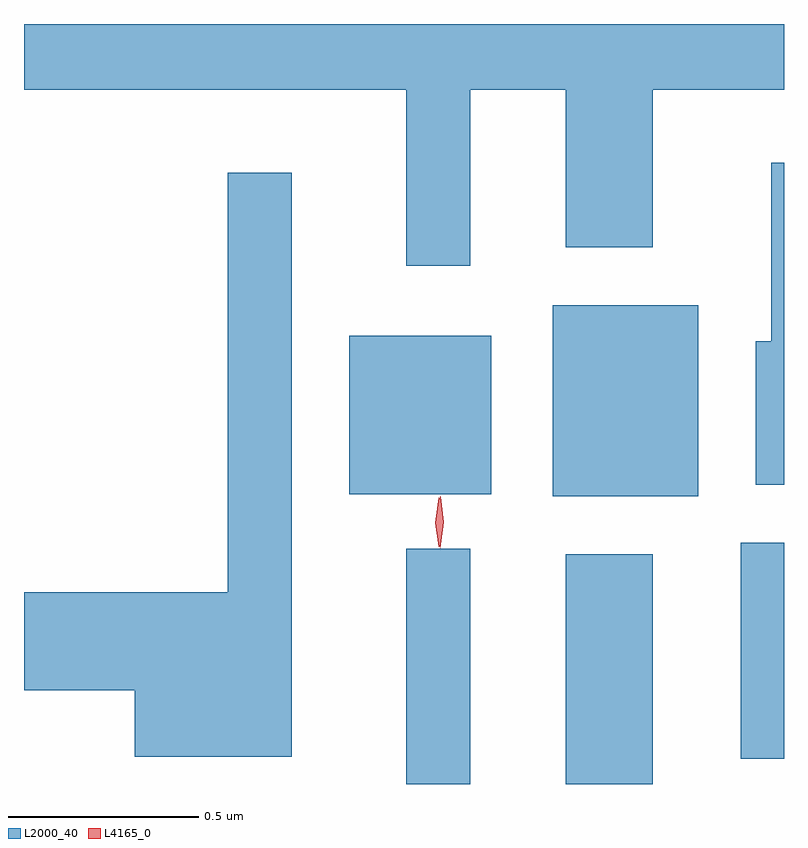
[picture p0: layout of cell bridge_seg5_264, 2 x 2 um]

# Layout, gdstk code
import gdstk
lib = gdstk.Library(unit=1e-6, precision=1e-09)
def R(c, l, rs):  # rectangles x0, y0, x1, y1
    for r in rs: c.add(gdstk.rectangle(r[:2], r[2:], *l))
def P(c, l, *ps):  # polygons
    for p in ps: c.add(gdstk.Polygon(p, *l))
L2000_40 = (2000, 40)
L4165_0 = (4165, 0)

bridge_seg5_264 = lib.new_cell('bridge_seg5_264')
R(bridge_seg5_264, L2000_40, [(1237.951,1395.029,1238.119,1395.648), (1238.371,1395.029,1238.599,1395.634), (1238.831,1395.096,1238.945,1395.664), (1238.336,1395.786,1238.719,1396.289), (1237.801,1395.791,1238.174,1396.209)])
P(bridge_seg5_264, L2000_40, [(1238.119,1396.856),(1238.371,1396.856),(1238.371,1396.441),(1238.599,1396.441),(1238.599,1396.856),(1238.945,1396.856),(1238.945,1397.029),(1236.945,1397.029),(1236.945,1396.856),(1237.951,1396.856),(1237.951,1396.393),(1238.119,1396.393)],
  [(1238.945,1396.664),(1238.911,1396.664),(1238.911,1396.194),(1238.871,1396.194),(1238.871,1395.816),(1238.945,1395.816)],
  [(1237.649,1396.638),(1237.481,1396.638),(1237.481,1395.534),(1236.945,1395.534),(1236.945,1395.276),(1237.236,1395.276),(1237.236,1395.101),(1237.649,1395.101)])
P(bridge_seg5_264, L4165_0, [(1238.037,1395.653),(1238.027,1395.717),(1238.037,1395.782),(1238.038,1395.782),(1238.038,1395.782),(1238.048,1395.717),(1238.038,1395.653),(1238.038,1395.653)],
  [(1238.04,1395.649),(1238.04,1395.65),(1238.03,1395.718),(1238.04,1395.785),(1238.041,1395.786),(1238.042,1395.785),(1238.05,1395.718),(1238.04,1395.65)])

lib.write_gds('bridge_seg5_264.gds')
